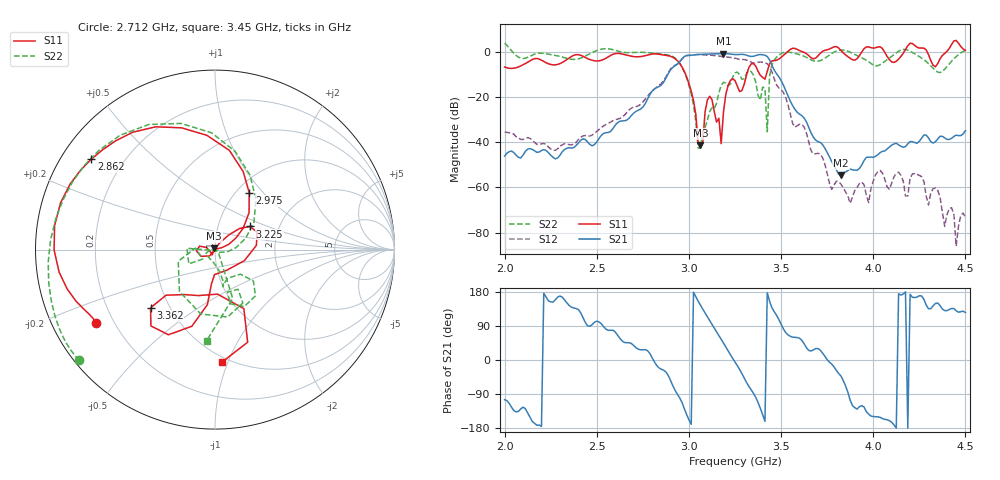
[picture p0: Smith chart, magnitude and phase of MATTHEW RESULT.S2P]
!Agilent Technologies,E5071C,MY46520292,B.13.20
!Date: Sun Dec 10 03:01:34 2023
!Data & Calibration Information:
!Freq	S11:SOLT2(ON)	S21:SOLT2(ON)	S12:SOLT2(ON)	S22:SOLT2(ON)
!PortZ  Port1:50+j0  Port2:50+j0
!Above PortZ is port z conversion or system Z0 setting when saving the data.
!When reading, reference impedance value at option line is always used.
# Hz S dB R 50
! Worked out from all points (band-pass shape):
!   201 points, 2 GHz to 4.5 GHz, reference 50 ohm
!   highest |S21| = -0.78 dB at 3.188 GHz (marker M1); lowest = -54.6 dB at 3.825 GHz (marker M2)
!   |S21| within 3 dB of the highest: 2.955 GHz to 3.439 GHz (483.5 MHz wide, 15.1 % of centre)
!   lowest |S11| = -41.3 dB at 3.062 GHz (marker M3), VSWR 1.02, Z = 49.6 + j0.733 ohm
!   |S11| at or under -10 dB: 2.982 GHz to 3.313 GHz (331.2 MHz wide, 10.5 % of centre); 3.385 GHz to 3.42 GHz (35.42 MHz wide, 1.04 % of centre)
!   |S22| runs from -42.6 to 3.9 dB; largest |S21 - S12| = 0.3
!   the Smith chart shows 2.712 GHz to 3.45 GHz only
!   S11 on the Smith chart (normalised r, x): 2.712 GHz: 0.13, -0.28; 2.862 GHz: 0.09, +0.32; 2.975 GHz: 1.14, +0.84; 3.225 GHz: 1.42, +0.39; 3.362 GHz: 0.39, -0.33; 3.45 GHz: 0.46, -0.95
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2e9  -6.70 -12.0  -46.09 -104.7  -35.44 -102.0  3.88 21.3
2.425e9  -1.93 -83.7  -38.46 112.0  -37.23 111.3  -2.34 -84.9
2.7125e9  -2.16 -148.2  -26.36 32.6  -24.22 37.1  -0.20 -140.8
2.8375e9  -1.05 155.7  -15.38 -20.8  -14.91 -12.7  -0.87 169.2
2.8625e9  -1.37 143.8  -13.45 -26.9  -12.78 -22.1  -1.11 154.9
2.975e9  -8.65 58.9  -2.05 -127.8  -2.14 -126.4  -8.88 50.7
3.0625e9  -41.28 121.0  -1.14 144.5  -1.28 144.4  -42.61 -148.2
3.1125e9  -19.66 -176.0  -0.94 104.0  -1.46 102.5  -26.37 -160.9
3.1875e9  -26.69 54.7  -0.78 44.7  -2.12 40.4  -13.47 -77.7
3.225e9  -12.63 33.5  -0.96 14.1  -2.44 9.3  -14.10 -44.0
3.25e9  -12.71 5.8  -1.20 -5.2  -2.80 -12.5  -9.31 -48.8
3.3625e9  -6.30 -137.9  -1.65 -98.5  -4.96 -109.5  -13.35 -162.4
3.425e9  -8.74 -63.9  -2.04 177.3  -5.32 166.8  -35.32 -21.3
3.45e9  -4.04 -86.4  -5.87 138.5  -8.84 121.4  -5.86 -95.2
3.5625e9  1.57 177.4  -23.77 60.4  -31.63 34.7  -0.43 -153.5
3.675e9  -3.07 139.1  -37.76 26.7  -45.23 13.3  -3.97 163.9
3.825e9  0.65 118.9  -54.62 -42.3  -58.57 -74.2  0.80 122.9
4.0875e9  -3.45 80.2  -42.17 -160.1  -60.81 160.7  -2.76 60.6
4.2e9  3.81 27.6  -39.70 173.4  -55.97 175.3  0.28 60.2
4.3875e9  -0.72 -20.8  -38.07 130.4  -77.19 112.0  -7.69 3.8
4.45e9  5.05 -3.9  -36.83 129.9  -85.97 67.1  -2.12 -0.2
4.5e9  0.71 28.6  -34.86 125.4  -73.26 -174.4  0.69 7.0
